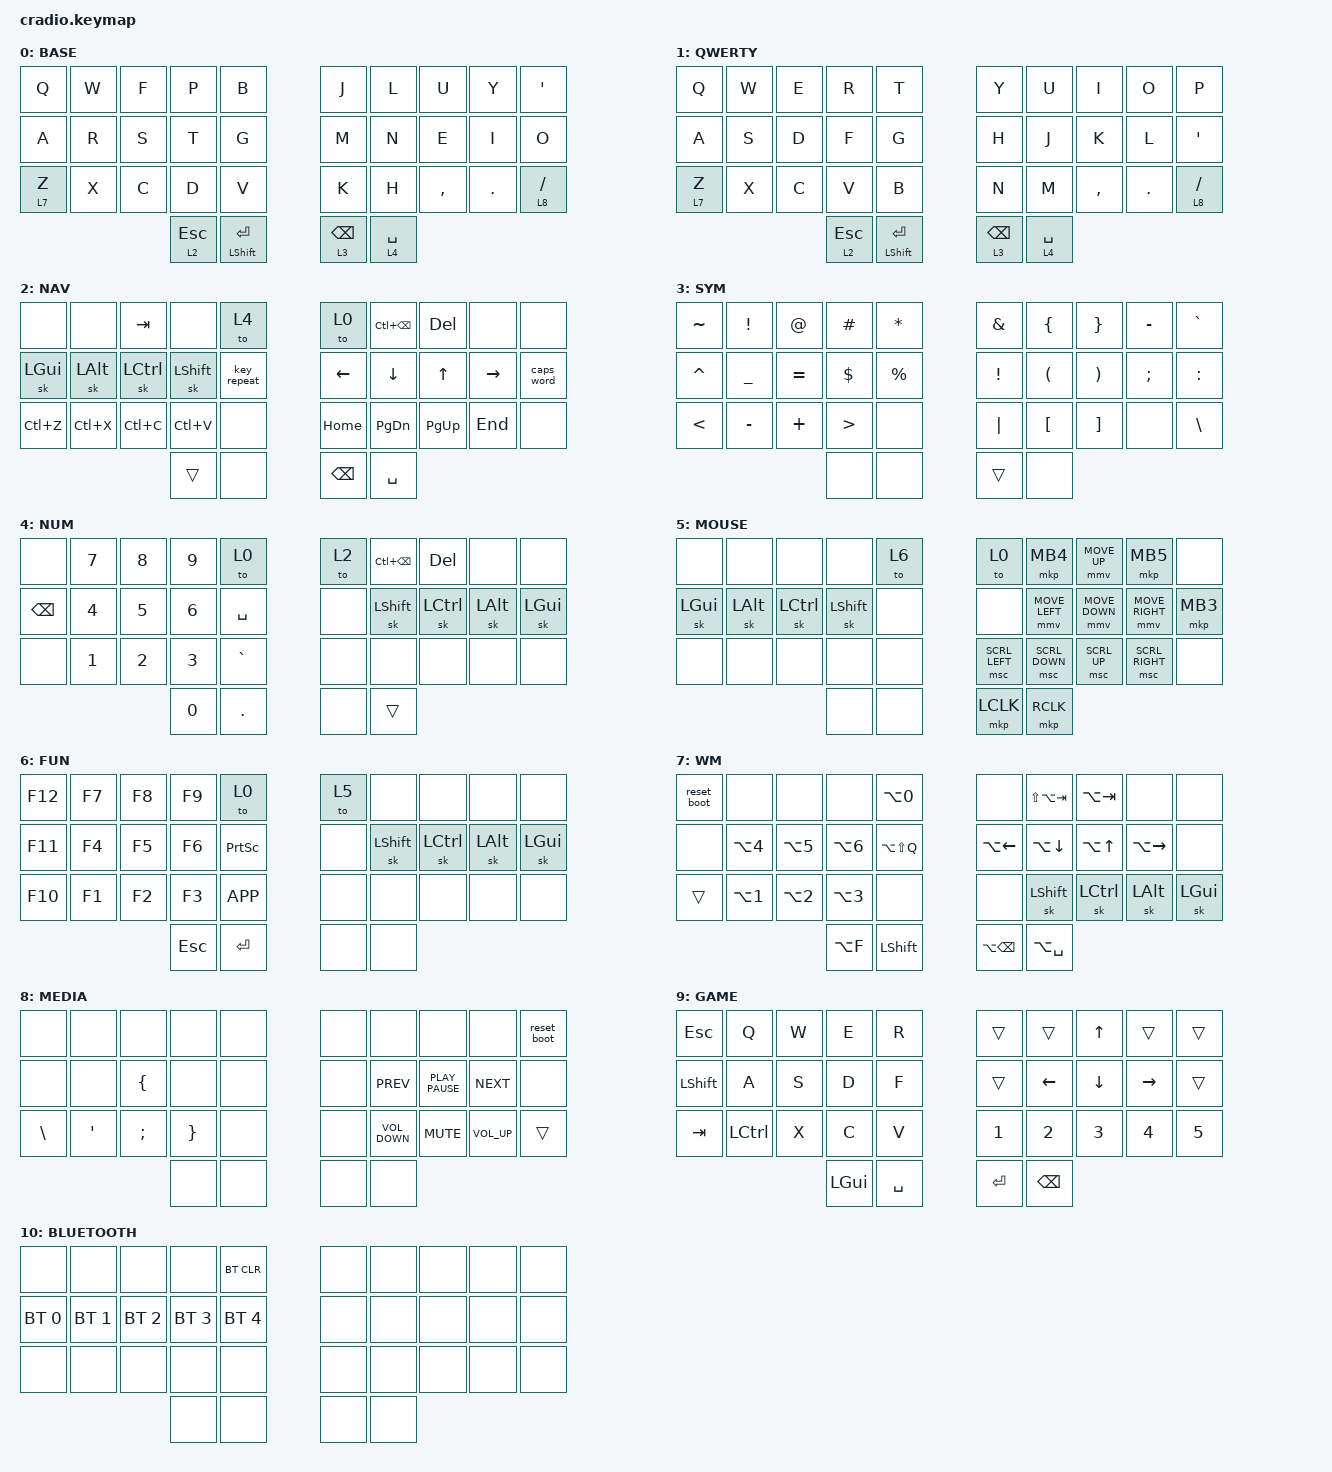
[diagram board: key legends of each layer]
#include <behaviors.dtsi>
#include <dt-bindings/zmk/keys.h>
#include <dt-bindings/zmk/mouse.h>
#include <dt-bindings/zmk/pointing.h>
#include <dt-bindings/zmk/bt.h>

&lt {
    flavor = "hold-preferred";
};

/ {
    combos {
        compatible = "zmk,combos";

        tab {
            bindings = <&kp TAB>;
            key-positions = <3 2>;
            layers = <0 1 2 3 4 5 6 7 8>;
        };

        del {
            bindings = <&kp DEL>;
            key-positions = <6 7>;
        };

        layer_reset_L {
            bindings = <&to 0>;
            key-positions = <3 4>;
        };

        layer_reset_R {
            bindings = <&to 0>;
            key-positions = <5 6>;
        };

        game_layer {
            bindings = <&to 9>;
            key-positions = <0 1 2 3>;
        };

        qwerty_layer {
            bindings = <&to 1>;
            key-positions = <6 7 8 9>;
        };

        mouse_layer {
            bindings = <&mo 5>;
            key-positions = <30 31>;
        };

        fun_layer {
            bindings = <&mo 6>;
            key-positions = <32 33>;
        };

        bluetooth_layer {
            bindings = <&mo 10>;
            key-positions = <30 31 32 33>;
        };
    };

    behaviors {
        reset_boot: reset_boot {
            compatible = "zmk,behavior-tap-dance";
            #binding-cells = <0>;
            bindings = <&sys_reset>, <&bootloader>;
        };
    };

    keymap {
        compatible = "zmk,keymap";

        BASE {
            bindings = <
        //╭──────────┬──────────┬──────────┬──────────┬──────────╮   ╭──────────┬──────────┬──────────┬──────────┬──────────╮
            &kp Q      &kp W      &kp F      &kp P      &kp B          &kp J      &kp L      &kp U      &kp Y      &kp SQT
        //├──────────┼──────────┼──────────┼──────────┼──────────┤   ├──────────┼──────────┼──────────┼──────────┼──────────┤
            &kp A      &kp R      &kp S      &kp T      &kp G          &kp M      &kp N      &kp E      &kp I      &kp O
        //├──────────┼──────────┼──────────┼──────────┼──────────┤   ├──────────┼──────────┼──────────┼──────────┼──────────┤
            &lt 7 Z    &kp X      &kp C      &kp D      &kp V          &kp K      &kp H      &kp COMMA  &kp DOT    &lt 8 SLASH
        //╰──────────┴──────────┴──────────┼──────────┼──────────┤   ├──────────┼──────────┼──────────┴──────────┴──────────╯
                                         &lt 2 ESC &mt LSHFT ENTER   &lt 3 BACKSPACE &lt 4 SPACE
        //                                 ╰──────────┴──────────╯   ╰──────────┴──────────╯
            >;
        };

        QWERTY {
            bindings = <
        //╭──────────┬──────────┬──────────┬──────────┬──────────╮   ╭──────────┬──────────┬──────────┬──────────┬──────────╮
            &kp Q      &kp W      &kp E      &kp R      &kp T          &kp Y      &kp U      &kp I      &kp O      &kp P
        //├──────────┼──────────┼──────────┼──────────┼──────────┤   ├──────────┼──────────┼──────────┼──────────┼──────────┤
            &kp A      &kp S      &kp D      &kp F      &kp G          &kp H      &kp J      &kp K      &kp L      &kp SQT
        //├──────────┼──────────┼──────────┼──────────┼──────────┤   ├──────────┼──────────┼──────────┼──────────┼──────────┤
            &lt 7 Z    &kp X      &kp C      &kp V      &kp B          &kp N      &kp M      &kp COMMA  &kp DOT    &lt 8 SLASH
        //╰──────────┴──────────┴──────────┼──────────┼──────────┤   ├──────────┼──────────┼──────────┴──────────┴──────────╯
                                         &lt 2 ESC &mt LSHFT ENTER   &lt 3 BACKSPACE &lt 4 SPACE
        //                                 ╰──────────┴──────────╯   ╰──────────┴──────────╯
            >;
        };

        NAV {
            bindings = <
        //╭──────────┬──────────┬──────────┬──────────┬──────────╮   ╭──────────┬──────────┬──────────┬──────────┬──────────╮
            &none      &none      &kp TAB    &none      &to 4          &to 0 &kp LC(BACKSPACE) &kp DEL  &none      &none
        //├──────────┼──────────┼──────────┼──────────┼──────────┤   ├──────────┼──────────┼──────────┼──────────┼──────────┤
            &sk LGUI   &sk LALT   &sk LCTRL  &sk LSHFT  &key_repeat    &kp LEFT   &kp DOWN   &kp UP     &kp RIGHT  &caps_word
        //├──────────┼──────────┼──────────┼──────────┼──────────┤   ├──────────┼──────────┼──────────┼──────────┼──────────┤
            &kp LC(Z)  &kp LC(X)  &kp LC(C)  &kp LC(V)  &none          &kp HOME   &kp PG_DN  &kp PG_UP  &kp END    &none
        //╰──────────┴──────────┴──────────┼──────────┼──────────┤   ├──────────┼──────────┼──────────┴──────────┴──────────╯
                                             &trans     &none          &kp BSPC   &kp SPACE
        //                                 ╰──────────┴──────────╯   ╰──────────┴──────────╯
            >;
        };

        SYM {
            bindings = <
        //╭──────────┬──────────┬──────────┬──────────┬──────────╮   ╭──────────┬──────────┬──────────┬──────────┬──────────╮
            &kp TILDE  &kp EXCL   &kp AT     &kp HASH   &kp ASTRK      &kp AMPS   &kp LBRC   &kp RBRC   &kp MINUS  &kp GRAVE
        //├──────────┼──────────┼──────────┼──────────┼──────────┤   ├──────────┼──────────┼──────────┼──────────┼──────────┤
            &kp CARET  &kp UNDER  &kp EQUAL  &kp DLLR   &kp PRCNT      &kp EXCL   &kp LPAR   &kp RPAR   &kp SEMI   &kp COLON
        //├──────────┼──────────┼──────────┼──────────┼──────────┤   ├──────────┼──────────┼──────────┼──────────┼──────────┤
            &kp LT     &kp MINUS  &kp PLUS   &kp GT     &none          &kp PIPE   &kp LBKT   &kp RBKT   &none      &kp BSLH
        //╰──────────┴──────────┴──────────┼──────────┼──────────┤   ├──────────┼──────────┼──────────┴──────────┴──────────╯
                                             &none      &none          &trans     &none
        //                                 ╰──────────┴──────────╯   ╰──────────┴──────────╯
            >;
        };

        NUM {
            bindings = <
        //╭──────────┬──────────┬──────────┬──────────┬──────────╮   ╭──────────┬──────────┬──────────┬──────────┬──────────╮
            &none      &kp N7     &kp N8     &kp N9     &to 0          &to 2  &kp LC(BACKSPACE) &kp DEL  &none     &none
        //├──────────┼──────────┼──────────┼──────────┼──────────┤   ├──────────┼──────────┼──────────┼──────────┼──────────┤
            &kp BACKSPACE &kp N4  &kp N5     &kp N6     &kp SPACE      &none      &sk LSHFT  &sk LCTRL  &sk LALT   &sk LGUI
        //├──────────┼──────────┼──────────┼──────────┼──────────┤   ├──────────┼──────────┼──────────┼──────────┼──────────┤
            &none      &kp N1     &kp N2     &kp N3     &kp GRAVE      &none      &none      &none      &none      &none
        //╰──────────┴──────────┴──────────┼──────────┼──────────┤   ├──────────┼──────────┼──────────┴──────────┴──────────╯
                                             &kp N0     &kp DOT        &none      &trans
        //                                 ╰──────────┴──────────╯   ╰──────────┴──────────╯
            >;
        };

        MOUSE {
            bindings = <
        //╭──────────┬──────────┬──────────┬──────────┬──────────╮   ╭──────────┬──────────┬──────────┬──────────┬──────────╮
            &none      &none      &none      &none      &to 6          &to 0      &mkp MB4  &mmv MOVE_UP &mkp MB5 &none
        //├──────────┼──────────┼──────────┼──────────┼──────────┤   ├──────────┼──────────┼──────────┼──────────┼──────────┤
            &sk LGUI   &sk LALT   &sk LCTRL  &sk LSHFT  &none        &none &mmv MOVE_LEFT &mmv MOVE_DOWN &mmv MOVE_RIGHT &mkp MB3
        //├──────────┼──────────┼──────────┼──────────┼──────────┤   ├──────────┼──────────┼──────────┼──────────┼──────────┤
            &none      &none      &none      &none      &none        &msc SCRL_LEFT &msc SCRL_DOWN &msc SCRL_UP &msc SCRL_RIGHT &none
        //╰──────────┴──────────┴──────────┼──────────┼──────────┤   ├──────────┼──────────┼──────────┴──────────┴──────────╯
                                             &none      &none          &mkp LCLK  &mkp RCLK
        //                                 ╰──────────┴──────────╯   ╰──────────┴──────────╯
            >;
        };

        FUN {
            bindings = <
        //╭──────────┬──────────┬──────────┬──────────┬──────────╮   ╭──────────┬──────────┬──────────┬──────────┬──────────╮
            &kp F12    &kp F7     &kp F8     &kp F9     &to 0          &to 5      &none      &none      &none      &none
        //├──────────┼──────────┼──────────┼──────────┼──────────┤   ├──────────┼──────────┼──────────┼──────────┼──────────┤
            &kp F11    &kp F4     &kp F5     &kp F6     &kp PSCRN      &none      &sk LSHFT  &sk LCTRL  &sk LALT   &sk LGUI
        //├──────────┼──────────┼──────────┼──────────┼──────────┤   ├──────────┼──────────┼──────────┼──────────┼──────────┤
            &kp F10    &kp F1     &kp F2     &kp F3     &kp K_APP      &none      &none      &none      &none      &none
        //╰──────────┴──────────┴──────────┼──────────┼──────────┤   ├──────────┼──────────┼──────────┴──────────┴──────────╯
                                             &kp ESC    &kp ENTER      &none      &none
        //                                 ╰──────────┴──────────╯   ╰──────────┴──────────╯
            >;
        };

        WM {
            bindings = <
        //╭──────────┬──────────┬──────────┬──────────┬──────────╮   ╭──────────┬──────────┬──────────┬──────────┬──────────╮
            &reset_boot  &none    &none      &none     &kp LA(N0)      &none   &kp LS(LA(TAB)) &kp LA(TAB) &none   &none
        //├──────────┼──────────┼──────────┼──────────┼──────────┤   ├──────────┼──────────┼──────────┼──────────┼──────────┤
            &none     &kp LA(N4) &kp LA(N5) &kp LA(N6) &kp LA(LS(Q)) &kp LA(LEFT) &kp LA(DOWN) &kp LA(UP) &kp LA(RIGHT) &none
        //├──────────┼──────────┼──────────┼──────────┼──────────┤   ├──────────┼──────────┼──────────┼──────────┼──────────┤
            &trans    &kp LA(N1) &kp LA(N2) &kp LA(N3)  &none          &none      &sk LSHFT  &sk LCTRL  &sk LALT   &sk LGUI
        //╰──────────┴──────────┴──────────┼──────────┼──────────┤   ├──────────┼──────────┼──────────┴──────────┴──────────╯
                                             &kp LA(F)  &kp LSHIFT   &kp LA(BACKSPACE) &kp LA(SPACE)
        //                                 ╰──────────┴──────────╯   ╰──────────┴──────────╯
            >;
        };

        MEDIA {
            bindings = <
        //╭──────────┬──────────┬──────────┬──────────┬──────────╮   ╭──────────┬──────────┬──────────┬──────────┬──────────╮
            &none      &none      &none      &none      &none          &none      &none      &none      &none      &reset_boot
        //├──────────┼──────────┼──────────┼──────────┼──────────┤   ├──────────┼──────────┼──────────┼──────────┼──────────┤
            &none      &none      &kp LBRC   &none      &none          &none   &kp K_PREV &kp K_PLAY_PAUSE &kp K_NEXT &none
        //├──────────┼──────────┼──────────┼──────────┼──────────┤   ├──────────┼──────────┼──────────┼──────────┼──────────┤
            &kp BSLH   &kp SQT    &kp SEMI   &kp RBRC   &none          &none &kp K_VOLUME_DOWN &kp K_MUTE &kp K_VOLUME_UP &trans
        //╰──────────┴──────────┴──────────┼──────────┼──────────┤   ├──────────┼──────────┼──────────┴──────────┴──────────╯
                                             &none      &none          &none      &none
        //                                 ╰──────────┴──────────╯   ╰──────────┴──────────╯
            >;
        };

        GAME {
            bindings = <
        //╭──────────┬──────────┬──────────┬──────────┬──────────╮   ╭──────────┬──────────┬──────────┬──────────┬──────────╮
            &kp ESC    &kp Q      &kp W      &kp E      &kp R          &trans     &trans     &kp UP     &trans     &trans
        //├──────────┼──────────┼──────────┼──────────┼──────────┤   ├──────────┼──────────┼──────────┼──────────┼──────────┤
            &kp LSHFT  &kp A      &kp S      &kp D      &kp F          &trans     &kp LEFT   &kp DOWN   &kp RIGHT  &trans
        //├──────────┼──────────┼──────────┼──────────┼──────────┤   ├──────────┼──────────┼──────────┼──────────┼──────────┤
            &kp TAB    &kp LCTRL  &kp X      &kp C      &kp V          &kp N1     &kp N2     &kp N3     &kp N4     &kp N5
        //╰──────────┴──────────┴──────────┼──────────┼──────────┤   ├──────────┼──────────┼──────────┴──────────┴──────────╯
                                             &kp LGUI   &kp SPACE      &kp RET    &kp BSPC
        //                                 ╰──────────┴──────────╯   ╰──────────┴──────────╯
            >;
        };

        BLUETOOTH {
            bindings = <
        //╭──────────┬──────────┬──────────┬──────────┬──────────╮   ╭──────────┬──────────┬──────────┬──────────┬──────────╮
            &none      &none      &none      &none      &bt BT_CLR     &none      &none      &none      &none      &none
        //├──────────┼──────────┼──────────┼──────────┼──────────┤   ├──────────┼──────────┼──────────┼──────────┼──────────┤
          &bt BT_SEL 0 &bt BT_SEL 1 &bt BT_SEL 2 &bt BT_SEL 3 &bt BT_SEL 4 &none  &none      &none      &none      &none
        //├──────────┼──────────┼──────────┼──────────┼──────────┤   ├──────────┼──────────┼──────────┼──────────┼──────────┤
            &none      &none      &none      &none      &none          &none      &none      &none      &none      &none
        //╰──────────┴──────────┴──────────┼──────────┼──────────┤   ├──────────┼──────────┼──────────┴──────────┴──────────╯
                                             &none      &none          &none      &none
        //                                 ╰──────────┴──────────╯   ╰──────────┴──────────╯
            >;
        };
    };
};
